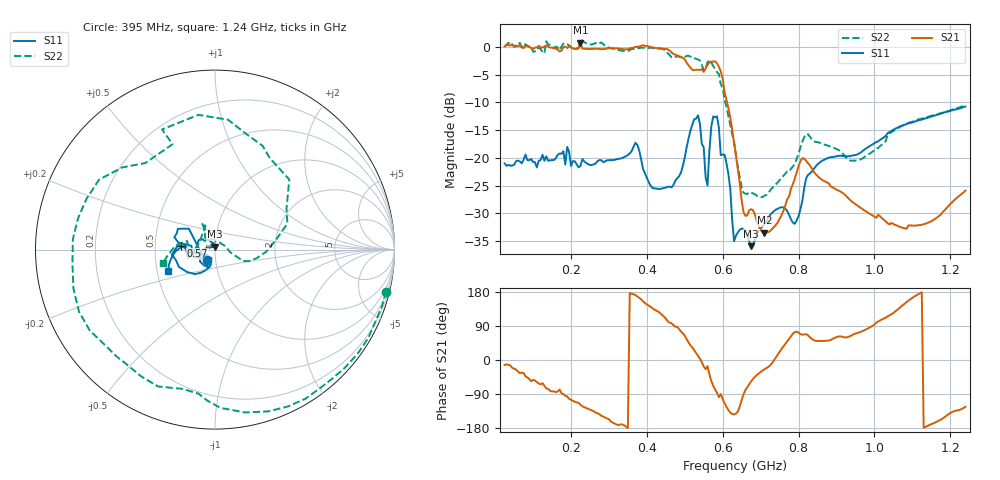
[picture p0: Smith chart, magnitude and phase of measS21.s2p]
!Created with skrf (http://scikit-rf.org).
# Hz S RI R 50.0
!freq ReS11 ImS11 ReS21 ImS21 ReS12 ImS12 ReS22 ImS22
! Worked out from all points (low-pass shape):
!   244 points, 25 MHz to 1.24 GHz, reference 50 ohm
!   highest |S21| = 0.79 dB at 225 MHz (marker M1); lowest = -33.5 dB at 710 MHz (marker M2)
!   |S21| within 3 dB of the highest: start of sweep to 499.6 MHz
!   lowest |S11| = -35.9 dB at 675 MHz (marker M3), VSWR 1.03, Z = 49.9 + j1.59 ohm
!   |S11| at or under -10 dB: start of sweep to end of sweep
!   |S22| runs from -27.1 to 1.2 dB; largest |S21 - S12| = 1.1
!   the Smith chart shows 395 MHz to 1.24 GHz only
!   S11 on the Smith chart (normalised r, x): 395 MHz: 0.91, -0.11; 570 MHz: 0.68, +0.03; 1.24 GHz: 0.57, -0.15
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2.5e7  -0.084 -0.0292  0.9855 -0.2265  0 0  0.8994 -0.463
8e7  -0.1064 -0.0118  0.7508 -0.7066  0 0  0.184 -1.043
1.35e8  -0.1014 -0.0192  0.2672 -0.9987  0 0  -0.6786 -0.897
2.25e8  -0.0777 -0.0328  -0.5192 -0.9644  0 0  -1.075 0.3507
2.3e8  -0.09 -0.0374  -0.5122 -0.8216  0 0  -1.055 0.4472
3.05e8  -0.0895 -0.0334  -0.9304 -0.3007  0 0  0.0903 0.9705
3.95e8  -0.0442 -0.0576  -0.89 0.5044  -0 0  0.9531 -0.2342
4.3e8  -0.0217 -0.0477  -0.5939 0.7712  0 0  0.5851 -0.7724
4.8e8  -0.0396 -0.052  0.0345 0.8385  0 0  -0.3161 -0.7628
5.15e8  -0.1113 -0.1365  0.5104 0.405  0 0  -0.7887 -0.2171
5.35e8  -0.2402 -0.0285  0.6104 0.1203  0 0  -0.7174 0.2805
5.6e8  -0.0477 -0.0297  0.6612 -0.1905  0 0  -0.2949 0.6692
5.7e8  -0.1896 0.0201  0.4194 -0.6072  0 0  0.0728 0.7236
5.9e8  -0.1457 0.1166  -0.0899 -0.6574  0 0  0.414 0.3905
6.35e8  0.00257 0.0196  -0.082 -0.0655  0 -0  0.1038 -0.0288
6.55e8  0.00284 0.0223  -0.00024 -0.0323  0 0  0.036 0.0322
6.75e8  -0.000916 0.0159  0.0188 -0.0287  0 0  0.0258 0.0409
7.1e8  -0.00375 0.0254  0.0192 -0.00878  0 0  0.00613 0.0452
7.9e8  -0.0102 0.0232  0.0182 0.062  0 0  -0.0553 0.0687
8.35e8  -0.0565 0.0493  0.0452 0.0663  0 0  -0.0571 0.1348
1.04e9  -0.1697 0.0202  -0.0117 0.0222  0 0  -0.1602 0.0455
1.24e9  -0.2638 -0.1204  -0.0279 -0.0422  0 0  -0.2889 -0.0732
